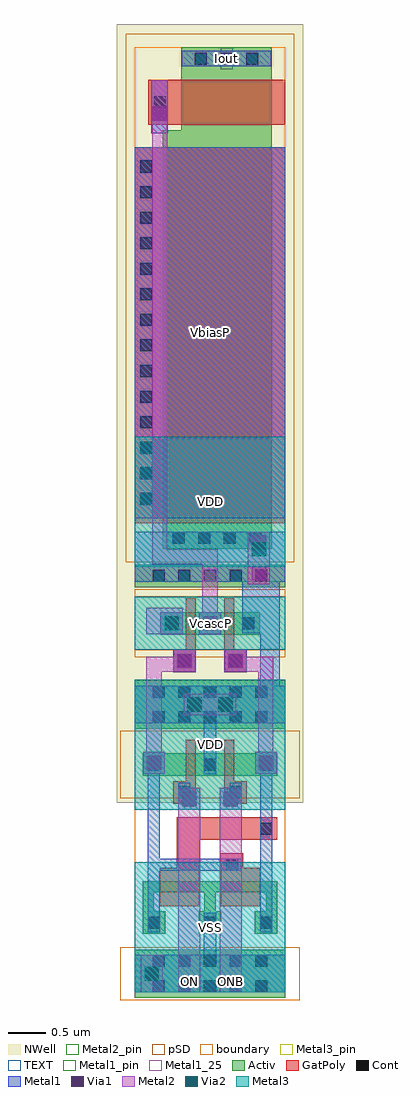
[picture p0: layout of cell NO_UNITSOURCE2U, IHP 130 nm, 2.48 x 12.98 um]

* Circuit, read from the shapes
.subckt NO_UNITSOURCE2U Iout ON ONB VDD VSS VbiasP VcascP
XM1 VSS NO_CASCODEDRIVE_1/NO_NONOVERLAP_1/OUTP NO_CASCODEDRIVE_1/NO_NONOVERLAP_1/OUTN VSS sg13_lv_nmos w=0.15u l=0.52u
XM2 NO_CASCODEDRIVE_1/NO_NONOVERLAP_1/OUTP NO_CASCODEDRIVE_1/NO_NONOVERLAP_1/OUTN VSS VSS sg13_lv_nmos w=0.15u l=0.52u
XM3 n1 VbiasP VDD VDD sg13_lv_pmos w=1.45u l=5u
XM4 Iout NO_PCSOURCE2U_0/VcascodeP n1 VDD sg13_lv_pmos w=1.2u l=0.6u
XM5 VDD ON NO_CASCODEDRIVE_1/NO_NONOVERLAP_1/OUTN VDD sg13_lv_pmos w=0.3u l=0.13u
XM6 NO_PCSOURCE2U_0/VcascodeP NO_CASCODEDRIVE_1/NO_NONOVERLAP_1/OUTN VcascP VDD sg13_lv_pmos w=0.3u l=0.13u
XM7 NO_CASCODEDRIVE_1/NO_NONOVERLAP_1/OUTP ONB VDD VDD sg13_lv_pmos w=0.3u l=0.13u
XM8 VDD NO_CASCODEDRIVE_1/NO_NONOVERLAP_1/OUTP NO_PCSOURCE2U_0/VcascodeP VDD sg13_lv_pmos w=0.3u l=0.13u
.ends

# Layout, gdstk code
from math import pi, radians
import gdstk
lib = gdstk.Library(unit=1e-6, precision=1e-09)
def R(c, l, rs):  # rectangles x0, y0, x1, y1
    for r in rs: c.add(gdstk.rectangle(r[:2], r[2:], *l))
def A(c, l, x, y, w, h, nx, ny, dx, dy):  # array of equal rectangles
    R(c, l, [(x+i*dx, y+j*dy, x+i*dx+w, y+j*dy+h) for i in range(nx) for j in range(ny)])
Activ = (1, 0)
GatPoly = (5, 0)
Cont = (6, 0)
Metal1 = (8, 0)
Metal1_pin = (8, 2)
Metal1_25 = (8, 25)
Metal2 = (10, 0)
Metal2_pin = (10, 2)
pSD = (14, 0)
Via1 = (19, 0)
Via2 = (29, 0)
Metal3 = (30, 0)
Metal3_pin = (30, 2)
NWell = (31, 0)
TEXT = (63, 0)
boundary = (189, 4)

no_feol_contacts_4_1 = lib.new_cell('NO_FEOL$contacts$4$1')
A(no_feol_contacts_4_1, Cont, 0.175, 0, 0.16, 0.16, 14, 1, 0.34, 0)
R(no_feol_contacts_4_1, Metal1, [(0,0,4.93,0.16)])

no_feol_contacts_7_1 = lib.new_cell('NO_FEOL$contacts$7$1')
A(no_feol_contacts_7_1, Cont, 0.135, 0, 0.16, 0.16, 4, 1, 0.34, 0)
R(no_feol_contacts_7_1, Metal1, [(0,0,1.45,0.16)])

no_feol_contacts_5_1 = lib.new_cell('NO_FEOL$contacts$5$1')
A(no_feol_contacts_5_1, Cont, 0.2, 0, 0.16, 0.16, 5, 1, 0.34, 0)
R(no_feol_contacts_5_1, Metal1, [(0,0,1.92,0.16)])

no_feol_contacts_6_1 = lib.new_cell('NO_FEOL$contacts$6$1')
A(no_feol_contacts_6_1, Cont, 0.16, 0, 0.16, 0.16, 3, 1, 0.34, 0)
R(no_feol_contacts_6_1, Metal1, [(0,0,1.16,0.16)])

no_feol_contacts_1_2 = lib.new_cell('NO_FEOL$contacts$1$2')
R(no_feol_contacts_1_2, Cont, [(0.18,0,0.34,0.16)])
R(no_feol_contacts_1_2, Metal1, [(0,0,0.52,0.16)])

no_pcsource2u = lib.new_cell('NO_PCSOURCE2U')
R(no_pcsource2u, Activ, [(-1,-6.3,1,-6), (-0.63,-5.79,0.82,-0.22), (-0.38,-0.38,0.82,0.88)])
R(no_pcsource2u, GatPoly, [(-1,-5.45,1,-0.45), (-0.82,-0.15,1,0.45)])
R(no_pcsource2u, Metal1, [(-1,-6.23,1,-5.56), (-1,-5.38,1,-0.45), (-0.78,-0.265,-0.56,0.445), (-0.375,0.625,0.815,0.835)])
R(no_pcsource2u, Metal1_pin, [(-1,-6.23,1,-5.56), (-1,-5.38,1,-0.45)])
R(no_pcsource2u, Metal1_25, [(-0.375,0.625,0.815,0.835)])
R(no_pcsource2u, Metal2, [(-0.78,-0.145,-0.56,0.445)])
R(no_pcsource2u, Metal2_pin, [(-0.775,-0.145,-0.565,0.445)])
R(no_pcsource2u, pSD, [(-1.12,-5.97,1.12,1.06)])
R(no_pcsource2u, Via1, [(-0.765,-0.095,-0.575,0.095)])
R(no_pcsource2u, NWell, [(-1.24,-6.54,1.24,1.19)])
R(no_pcsource2u, TEXT, [(0.14,0.585,0.3,0.875), (0.125,0.635,0.315,0.825)])
R(no_pcsource2u, boundary, [(-1,-6.3,1,0.88)])
no_pcsource2u.add(gdstk.Reference(no_feol_contacts_4_1, (-0.77,-5.38), rotation=pi/2))
no_pcsource2u.add(gdstk.Reference(no_feol_contacts_7_1, (-0.63,-5.72)))
no_pcsource2u.add(gdstk.Reference(no_feol_contacts_5_1, (-0.96,-6.23)))
no_pcsource2u.add(gdstk.Reference(no_feol_contacts_6_1, (-0.36,0.65)))
no_pcsource2u.add(gdstk.Reference(no_feol_contacts_1_2, (-0.59,-0.11), rotation=pi/2))
no_pcsource2u.add(gdstk.Label('VbiasP', (0,-2.915), layer=8, texttype=25))
no_pcsource2u.add(gdstk.Label('VDD', (0,-5.895), layer=8, texttype=25))
no_pcsource2u.add(gdstk.Label('Iout', (0.22,0.73), layer=8, texttype=25))
no_pcsource2u.add(gdstk.Label('VcascodeP', (-0.67,0), layer=10, texttype=25))

no_feol_contacts_9_1 = lib.new_cell('NO_FEOL$contacts$9$1')
R(no_feol_contacts_9_1, Cont, [(0.05,0,0.21,0.16)])
R(no_feol_contacts_9_1, Metal1, [(0,0,0.26,0.16)])

no_via_stack_2_1 = lib.new_cell('NO_via_stack$2$1')
R(no_via_stack_2_1, Metal1, [(-0.145,-0.145,0.145,0.145)])
R(no_via_stack_2_1, Metal2, [(-0.145,-0.145,0.145,0.145)])
R(no_via_stack_2_1, Via1, [(-0.095,-0.095,0.095,0.095)])

no_via_stack_3 = lib.new_cell('NO_via_stack$3')
R(no_via_stack_3, Metal1, [(-0.145,-0.145,0.145,0.145)])
R(no_via_stack_3, Metal2, [(-0.145,-0.145,0.145,0.145)])
R(no_via_stack_3, Via1, [(-0.095,-0.095,0.095,0.095)])
R(no_via_stack_3, Via2, [(-0.095,-0.095,0.095,0.095)])
R(no_via_stack_3, Metal3, [(-0.145,-0.145,0.145,0.145)])

no_dac_sw = lib.new_cell('NO_DAC_SW')
R(no_dac_sw, Activ, [(-0.66,-0.15,0.66,0.15)])
R(no_dac_sw, GatPoly, [(-0.49,-0.65,-0.19,-0.35), (0.19,-0.65,0.49,-0.35), (-0.32,-0.375,-0.19,0.33), (0.19,-0.375,0.32,0.33)])
A(no_dac_sw, Cont, -0.59, -0.08, 0.16, 0.16, 3, 1, 0.51, 0)
A(no_dac_sw, Metal1, -0.59, -0.13, 0.16, 0.26, 3, 1, 0.51, 0)
R(no_dac_sw, Metal1, [(-0.49,-0.65,-0.19,-0.35), (0.19,-0.65,0.49,-0.35), (-0.66,-0.15,-0.36,0.15), (-0.15,-0.15,0.15,0.15)])
R(no_dac_sw, Metal2, [(-0.845,-0.145,-0.365,0.205)])
R(no_dac_sw, pSD, [(-1,-0.45,1,0.45)])
R(no_dac_sw, NWell, [(-1,-0.5,1,0.5)])
R(no_dac_sw, boundary, [(-1,-0.36,1,0.36)])
no_dac_sw.add(gdstk.FlexPath([(0.43,0),(0.8,0),(0.8,-0.985)], 0.26, ends="flush", simple_path=True, layer=8, datatype=0))  # Metal1
no_dac_sw.add(gdstk.FlexPath([(-0.745,-1.95),(-0.745,-0.545),(-0.24,-0.545)], 0.2, ends="flush", simple_path=True, layer=10, datatype=0))  # Metal2
no_dac_sw.add(gdstk.FlexPath([(0.74,-1.95),(0.74,-0.545),(0.24,-0.545)], 0.2, ends="flush", simple_path=True, layer=10, datatype=0))  # Metal2
no_dac_sw.add(gdstk.Reference(no_feol_contacts_9_1, (-0.26,-0.63), rotation=pi/2))
no_dac_sw.add(gdstk.Reference(no_feol_contacts_9_1, (0.42,-0.63), rotation=pi/2))
no_dac_sw.add(gdstk.Reference(no_via_stack_2_1, (-0.34,-0.5)))
no_dac_sw.add(gdstk.Reference(no_via_stack_3, (-0.51,0)))
no_dac_sw.add(gdstk.Reference(no_via_stack_2_1, (0.34,-0.5)))
no_dac_sw.add(gdstk.Reference(no_via_stack_2_1, (0,0)))

no_feol_contacts_3_2_1 = lib.new_cell('NO_FEOL$contacts$3$2$1')
A(no_feol_contacts_3_2_1, Cont, 0.2, 0, 0.16, 0.16, 5, 2, 0.34, 0.34)
R(no_feol_contacts_3_2_1, Metal1, [(0,0,1.92,0.5)])

no_feol_contacts_1_1_1 = lib.new_cell('NO_FEOL$contacts$1$1$1')
R(no_feol_contacts_1_1_1, Cont, [(0.05,0,0.21,0.16)])
R(no_feol_contacts_1_1_1, Metal1, [(0,0,0.26,0.16)])

no_via_stack_1_1_1 = lib.new_cell('NO_via_stack$1$1$1')
R(no_via_stack_1_1_1, Metal1, [(-0.145,-0.145,0.145,0.145)])
R(no_via_stack_1_1_1, Metal2, [(-0.145,-0.145,0.145,0.145)])
R(no_via_stack_1_1_1, Via1, [(-0.095,-0.095,0.095,0.095)])

no_nonoverlap = lib.new_cell('NO_NONOVERLAP')
A(no_nonoverlap, Activ, -0.895, -2.25, 0.3, 0.3, 3, 1, 0.745, 0)
R(no_nonoverlap, Activ, [(-1,-3.1,1,-2.46), (-0.895,-1.7,0.895,-1.55), (-0.895,-0.15,0.895,0.15), (-1,0.48,1,1.12)])
R(no_nonoverlap, GatPoly, [(-0.665,-1.88,-0.145,-1.37), (0.145,-1.88,0.665,-1.37), (0.145,-1.48,0.445,-1.18), (0.595,-1,0.895,-0.7), (-0.49,-0.52,-0.19,-0.22), (0.19,-0.52,0.49,-0.22), (-0.32,-0.33,-0.19,0.33), (0.19,-0.33,0.32,0.33)])
R(no_nonoverlap, Metal1, [(-1,-3.03,1,-2.53), (-1,0.55,1,1.05), (-1,0.55,1,1.05)])
R(no_nonoverlap, Metal1_pin, [(-1,-3.03,1,-2.53), (-1,0.55,1,1.05)])
R(no_nonoverlap, Metal2_pin, [(-0.42,-0.6,-0.13,-0.31), (0.13,-0.6,0.42,-0.31), (-0.89,-0.12,-0.6,0.17), (0.6,-0.12,0.89,0.17)])
R(no_nonoverlap, pSD, [(-1.195,-3.13,1.195,-2.43), (-1.195,-0.45,1.195,0.45)])
R(no_nonoverlap, NWell, [(-1.24,-0.505,1.24,1.44)])
R(no_nonoverlap, boundary, [(-1,-3.1,1,1.12)])
no_nonoverlap.add(gdstk.FlexPath([(0.38,-1.33),(-0.745,-1.33)], 0.16, ends="flush", simple_path=True, layer=8, datatype=0))  # Metal1
no_nonoverlap.add(gdstk.FlexPath([(-0.745,-2.02),(-0.745,-0.08)], 0.16, ends="flush", simple_path=True, layer=8, datatype=0))  # Metal1
no_nonoverlap.add(gdstk.FlexPath([(0.745,-2.02),(0.745,-0.08)], 0.16, ends="flush", simple_path=True, layer=8, datatype=0))  # Metal1
no_nonoverlap.add(gdstk.FlexPath([(0,-2.02),(0,-2.69)], 0.16, ends="flush", simple_path=True, layer=8, datatype=0))  # Metal1
no_nonoverlap.add(gdstk.FlexPath([(0,0.71),(0,-0.08)], 0.16, ends="flush", simple_path=True, layer=8, datatype=0))  # Metal1
no_nonoverlap.add(gdstk.FlexPath([(0,-1.63),(0,-2.18)], 0.15, ends="flush", simple_path=True, layer=1, datatype=0))  # Activ
no_nonoverlap.add(gdstk.FlexPath([(0.82,-1.635),(0.82,-2.18)], 0.15, ends="flush", simple_path=True, layer=1, datatype=0))  # Activ
no_nonoverlap.add(gdstk.FlexPath([(-0.82,-1.63),(-0.82,-2.18)], 0.15, ends="flush", simple_path=True, layer=1, datatype=0))  # Activ
no_nonoverlap.add(gdstk.FlexPath([(-0.295,-1.475),(-0.295,-0.85),(0.745,-0.85)], 0.3, ends="flush", simple_path=True, layer=5, datatype=0))  # GatPoly
no_nonoverlap.add(gdstk.Reference(no_feol_contacts_3_2_1, (-0.96,0.55)))
no_nonoverlap.add(gdstk.Reference(no_feol_contacts_1_1_1, (0.825,-0.13), rotation=pi/2))
no_nonoverlap.add(gdstk.Reference(no_feol_contacts_1_1_1, (0.08,-0.13), rotation=pi/2))
no_nonoverlap.add(gdstk.Reference(no_feol_contacts_1_1_1, (-0.665,-0.13), rotation=pi/2))
no_nonoverlap.add(gdstk.Reference(no_feol_contacts_1_1_1, (-0.26,-0.5), rotation=pi/2))
no_nonoverlap.add(gdstk.Reference(no_feol_contacts_1_1_1, (0.42,-0.5), rotation=pi/2))
no_nonoverlap.add(gdstk.Reference(no_feol_contacts_1_1_1, (-0.665,-2.23), rotation=pi/2))
no_nonoverlap.add(gdstk.Reference(no_feol_contacts_1_1_1, (0.165,-1.41)))
no_nonoverlap.add(gdstk.Reference(no_feol_contacts_1_1_1, (0.825,-2.23), rotation=pi/2))
no_nonoverlap.add(gdstk.Reference(no_feol_contacts_1_1_1, (0.08,-2.23), rotation=pi/2))
no_nonoverlap.add(gdstk.Reference(no_feol_contacts_3_2_1, (-0.96,-3.03)))
no_nonoverlap.add(gdstk.Reference(no_via_stack_1_1_1, (0.275,-0.455)))
no_nonoverlap.add(gdstk.Reference(no_via_stack_1_1_1, (-0.275,-0.455)))
no_nonoverlap.add(gdstk.Reference(no_via_stack_1_1_1, (0.745,0.025)))
no_nonoverlap.add(gdstk.Reference(no_via_stack_1_1_1, (-0.745,0.025)))
no_nonoverlap.add(gdstk.Reference(no_feol_contacts_1_1_1, (0.825,-0.98), rotation=pi/2))
no_nonoverlap.add(gdstk.Label('VSS', (0,-2.78), layer=8, texttype=25))
no_nonoverlap.add(gdstk.Label('VDD', (0,0.8), layer=8, texttype=25))
no_nonoverlap.add(gdstk.Label('OUTN', (-0.745,0.025), layer=10, texttype=25))
no_nonoverlap.add(gdstk.Label('INP', (-0.275,-0.455), layer=10, texttype=25))
no_nonoverlap.add(gdstk.Label('OUTP', (0.745,0.025), layer=10, texttype=25))
no_nonoverlap.add(gdstk.Label('INN', (0.275,-0.455), layer=10, texttype=25))

no_cascodedrive = lib.new_cell('NO_CASCODEDRIVE')
no_cascodedrive.add(gdstk.Reference(no_dac_sw, (0,0)))
no_cascodedrive.add(gdstk.Reference(no_nonoverlap, (0,-1.88)))

no_via_stack_7_1_1 = lib.new_cell('NO_via_stack$7$1$1')
R(no_via_stack_7_1_1, Metal1, [(-0.145,-0.35,0.145,0.35)])
R(no_via_stack_7_1_1, Metal2, [(-0.145,-0.35,0.145,0.35)])
R(no_via_stack_7_1_1, Via1, [(-0.095,-0.3,0.095,-0.11), (-0.095,0.11,0.095,0.3)])

no_via_stack_4_1 = lib.new_cell('NO_via_stack$4$1')
R(no_via_stack_4_1, Metal1, [(-0.35,-0.145,0.35,0.145)])
R(no_via_stack_4_1, Metal2, [(-0.35,-0.145,0.35,0.145)])
R(no_via_stack_4_1, Via1, [(-0.3,-0.095,-0.11,0.095), (0.11,-0.095,0.3,0.095)])
R(no_via_stack_4_1, Via2, [(-0.3,-0.095,-0.11,0.095), (0.11,-0.095,0.3,0.095)])
R(no_via_stack_4_1, Metal3, [(-0.35,-0.145,0.35,0.145)])

no_via_stack_6_2_1 = lib.new_cell('NO_via_stack$6$2$1')
R(no_via_stack_6_2_1, Metal2, [(-0.145,-0.145,0.145,0.145)])
R(no_via_stack_6_2_1, Via2, [(-0.095,-0.095,0.095,0.095)])
R(no_via_stack_6_2_1, Metal3, [(-0.145,-0.145,0.145,0.145)])

no_via_stack_9_1 = lib.new_cell('NO_via_stack$9$1')
R(no_via_stack_9_1, Metal1, [(-0.145,-0.145,0.145,0.145)])
R(no_via_stack_9_1, Metal2, [(-0.145,-0.145,0.145,0.145)])
R(no_via_stack_9_1, Via1, [(-0.095,-0.095,0.095,0.095)])
R(no_via_stack_9_1, Via2, [(-0.095,-0.095,0.095,0.095)])
R(no_via_stack_9_1, Metal3, [(-0.145,-0.145,0.145,0.145)])

no_unitsource2u = lib.new_cell('NO_UNITSOURCE2U')
R(no_unitsource2u, Metal1, [(0.43,-0.13,0.93,0.71)])
R(no_unitsource2u, Metal1_pin, [(-1,0.55,1,1.22), (-1,1.4,1,6.33), (-0.375,7.405,0.815,7.615)])
R(no_unitsource2u, Metal2, [(-0.92,-4.91,-0.63,-4.41)])
R(no_unitsource2u, Metal2_pin, [(-0.42,-4.91,-0.13,-4.62), (0.13,-4.91,0.42,-4.62)])
R(no_unitsource2u, Metal3, [(-1,-4.91,1,-3.18), (-1,-2.48,1,-0.75), (-1,0.75,1,2.48)])
R(no_unitsource2u, Metal3_pin, [(-1,-4.91,1,-3.18), (-1,-2.48,1,-0.75), (-1,-0.35,1,0.35), (-1,0.75,1,2.48)])
R(no_unitsource2u, NWell, [(-1.24,-2.385,1.24,7.97)])
no_unitsource2u.add(gdstk.FlexPath([(-0.275,-4.91),(-0.275,-2.19)], 0.29, ends="flush", simple_path=True, layer=10, datatype=0))  # Metal2
no_unitsource2u.add(gdstk.FlexPath([(0.275,-4.91),(0.275,-2.19)], 0.29, ends="flush", simple_path=True, layer=10, datatype=0))  # Metal2
no_unitsource2u.add(gdstk.FlexPath([(-0.67,6.685),(-0.67,0.885),(0,0.885),(0,0.095)], 0.2, ends="flush", simple_path=True, layer=10, datatype=0))  # Metal2
no_unitsource2u.add(gdstk.FlexPath([(-1,0),(1,0)], 0.7, ends="flush", simple_path=True, layer=30, datatype=0))  # Metal3
no_unitsource2u.add(gdstk.Reference(no_pcsource2u, (0,6.78)))
no_unitsource2u.add(gdstk.Reference(no_cascodedrive, (0,0)))
no_unitsource2u.add(gdstk.Reference(no_via_stack_7_1_1, (0.65,0.87)))
no_unitsource2u.add(gdstk.Reference(no_via_stack_4_1, (0,-1.08)))
no_unitsource2u.add(gdstk.Reference(no_via_stack_6_2_1, (0.65,0.985)))
no_unitsource2u.add(gdstk.Reference(no_via_stack_9_1, (-0.775,-4.66)))
no_unitsource2u.add(gdstk.Label('VDD', (0,1.615), layer=30, texttype=0))
no_unitsource2u.add(gdstk.Label('VbiasP', (0,3.865), layer=8, texttype=25))
no_unitsource2u.add(gdstk.Label('Iout', (0.22,7.51), layer=8, texttype=25))
no_unitsource2u.add(gdstk.Label('ON', (-0.275,-4.765), layer=10, texttype=25))
no_unitsource2u.add(gdstk.Label('ONB', (0.275,-4.765), layer=10, texttype=25))
no_unitsource2u.add(gdstk.Label('VSS', (0,-4.045), layer=30, texttype=25))
no_unitsource2u.add(gdstk.Label('VDD', (0,-1.615), layer=30, texttype=25))
no_unitsource2u.add(gdstk.Label('VcascP', (0,0), layer=30, texttype=25))

lib.write_gds('NO_UNITSOURCE2U.gds')
